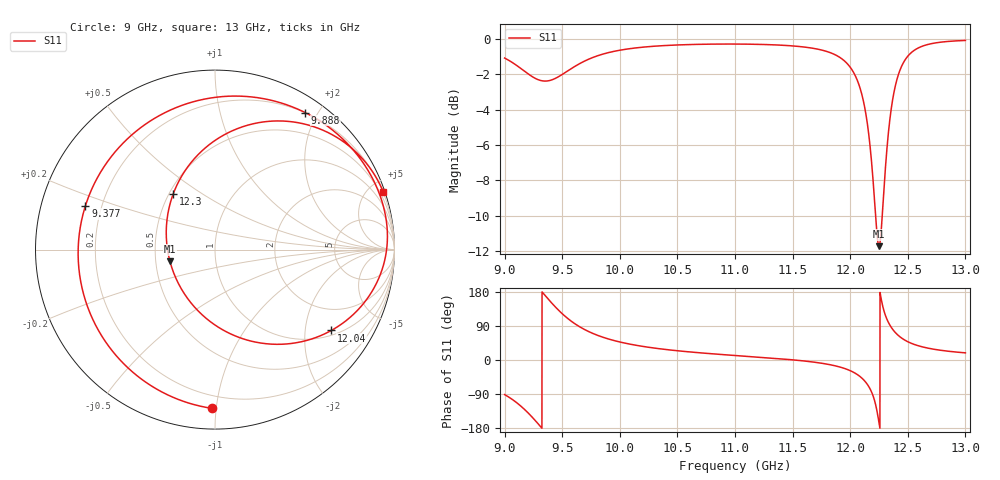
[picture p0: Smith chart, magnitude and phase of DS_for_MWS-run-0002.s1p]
! TOUCHSTONE file generated by CST DESIGN STUDIO
! Date and time: Tue Feb  4 18:16:54 2025
! Project name: C:\Work\MatlabApps\UnitCellOptimizationMatlab\CST\unitcell.cst
! Tree item: Tasks\Sweep1\SPara1\S-Parameters
! Header version: 2024
! Port assignment regex: !\s*Touchstone port\s*([0-9]+)\s*=\s*(CST MWS port|CST DES external port|CST DES block port)\s*(.+)\s* \(\"(.*)\"\)(\s*mode\s*([0-9]+))?.*
! Touchstone port assignment:
! Touchstone port 1 = CST DES external port 1 ("")
# GHz S MA R 50
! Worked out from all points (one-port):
!   4001 points, 9 GHz to 13 GHz, reference 50 ohm
!   lowest |S11| = -11.7 dB at 12.25 GHz (marker M1), VSWR 1.70, Z = 29.7 - j4.21 ohm
!   |S11| at or under -10 dB: 12.2206 GHz to 12.27818 GHz (57.58 MHz wide, 0.47 % of centre)
!   S11 on the Smith chart (normalised r, x): 9 GHz: 0.12, -0.97; 9.377 GHz: 0.14, +0.16; 9.888 GHz: 0.20, +1.84; 12.04 GHz: 1.15, -2.76; 12.3 GHz: 0.53, +0.39; 13 GHz: 0.16, +6.02
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9  0.8843 -91.2
9.091  0.8486 -109.4
9.174  0.811 -130.7
9.282  0.7701 -165.2
9.377  0.7621 161.3
9.5  0.7944 122.2
9.571  0.8223 104.1
9.652  0.8528 87.6
9.888  0.9138 56.7
10  0.9305 47.5
10.216  0.9503 35.1
10.5  0.963 24.4
11  0.9687 11.9
11.5  0.957 0.4
11.821  0.9173 -12.2
12  0.8329 -28.1
12.043  0.7893 -34.8
12.105  0.6894 -48.8
12.165  0.5243 -72.0
12.207  0.3657 -102.3
12.25  0.2594 -165.3
12.296  0.3886 126.7
12.336  0.5606 96.7
12.378  0.7018 77.3
12.438  0.8262 59.7
12.5  0.895 48.2
12.681  0.9673 30.9
13  0.9916 18.9
